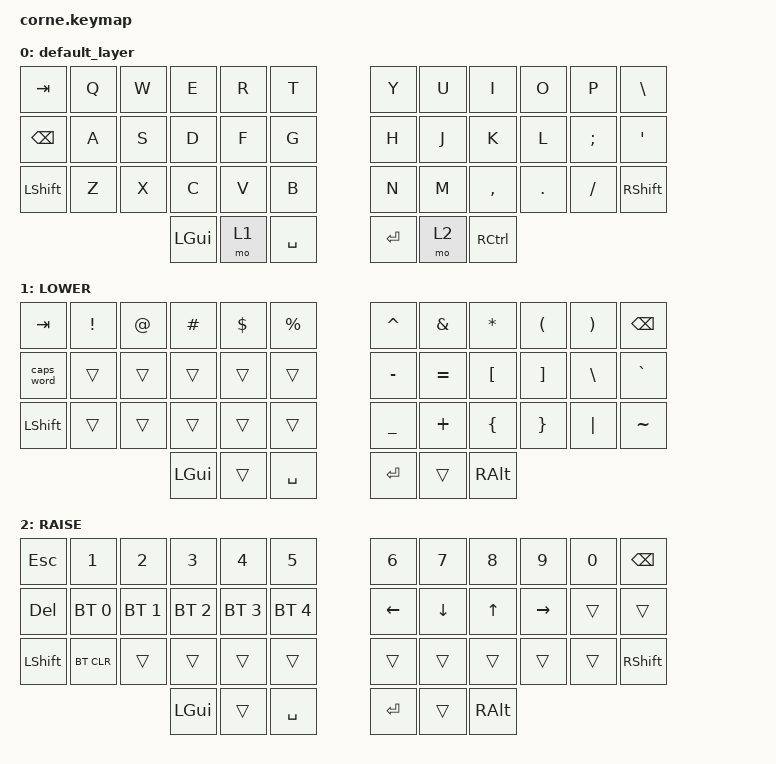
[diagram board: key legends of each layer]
/*
 * Copyright (c) 2020 The ZMK Contributors
 *
 * SPDX-License-Identifier: MIT
 */

#include <behaviors.dtsi>
#include <dt-bindings/zmk/bt.h>
#include <dt-bindings/zmk/keys.h>

/ {
    keymap {
        compatible = "zmk,keymap";

        default_layer {
            // -----------------------------------------------------------------------------------------
            // |  TAB |  Q  |  W  |  E  |  R  |  T  |   |  Y  |  U   |  I  |  O  |  P  | BSLH |
            // | BKSP |  A  |  S  |  D  |  F  |  G  |   |  H  |  J   |  K  |  L  |  ;  |  '   |
            // | SHFT |  Z  |  X  |  C  |  V  |  B  |   |  N  |  M   |  ,  |  .  |  /  | SHFT  |
            //                    | MOD | LWR | SPC |   | ENT | RSE  | MOD |

            bindings = <
&kp TAB    &kp Q  &kp W  &kp E     &kp R  &kp T        &kp Y    &kp U  &kp I      &kp O    &kp P     &kp BSLH
&kp BSPC   &kp A  &kp S  &kp D     &kp F  &kp G        &kp H    &kp J  &kp K      &kp L    &kp SEMI  &kp SQT
&kp LSHFT  &kp Z  &kp X  &kp C     &kp V  &kp B        &kp N    &kp M  &kp COMMA  &kp DOT  &kp FSLH  &kp RSHIFT
                         &kp LGUI  &mo 1  &kp SPACE    &kp RET  &mo 2  &kp RCTRL
            >;
        };

        LOWER {
            // -----------------------------------------------------------------------------------------
            // |  TAB |  !  |  @  |  #  |  $  |  %  |   |  ^  |  &  |  *  |  (  |  )  | BSPC |
            // | CTRL |     |     |     |     |     |   |  -  |  =  |  [  |  ]  |  \  |  `   |
            // | SHFT |     |     |     |     |     |   |  _  |  +  |  {  |  }  | "|" |  ~   |
            //                    | GUI |     | SPC |   | ENT |     | ALT |

            bindings = <
&kp TAB     &kp EXCL  &kp AT  &kp HASH  &kp DLLR  &kp PRCNT    &kp CARET  &kp AMPS   &kp ASTRK  &kp LPAR  &kp RPAR  &kp BSPC
&caps_word  &trans    &trans  &trans    &trans    &trans       &kp MINUS  &kp EQUAL  &kp LBKT   &kp RBKT  &kp BSLH  &kp GRAVE
&kp LSHFT   &trans    &trans  &trans    &trans    &trans       &kp UNDER  &kp PLUS   &kp LBRC   &kp RBRC  &kp PIPE  &kp TILDE
                              &kp LGUI  &trans    &kp SPACE    &kp RET    &trans     &kp RALT
            >;
        };

        RAISE {
            // -----------------------------------------------------------------------------------------
            // |  TAB |  1  |  2  |  3  |  4  |  5  |   |  6  |  7  |  8  |  9  |  0  | BSPC |
            // | BTCLR| BT1 | BT2 | BT3 | BT4 | BT5 |   | LFT | DWN |  UP | RGT |     |      |
            // | SHFT |     |     |     |     |     |   |     |     |     |     |     |      |
            //                    | GUI |     | SPC |   | ENT |     | ALT |

            bindings = <
&kp ESC     &kp N1        &kp N2        &kp N3        &kp N4        &kp N5          &kp N6    &kp N7    &kp N8         &kp N9     &kp N0  &kp BSPC
&kp DELETE  &bt BT_SEL 0  &bt BT_SEL 1  &bt BT_SEL 2  &bt BT_SEL 3  &bt BT_SEL 4    &kp LEFT  &kp DOWN  &kp UP         &kp RIGHT  &trans  &trans
&kp LSHFT   &bt BT_CLR    &trans        &trans        &trans        &trans          &trans    &trans    &trans         &trans     &trans  &kp RSHIFT
                                        &kp LGUI      &trans        &kp SPACE       &kp RET   &trans    &kp RIGHT_ALT
            >;
        };
    };
};
